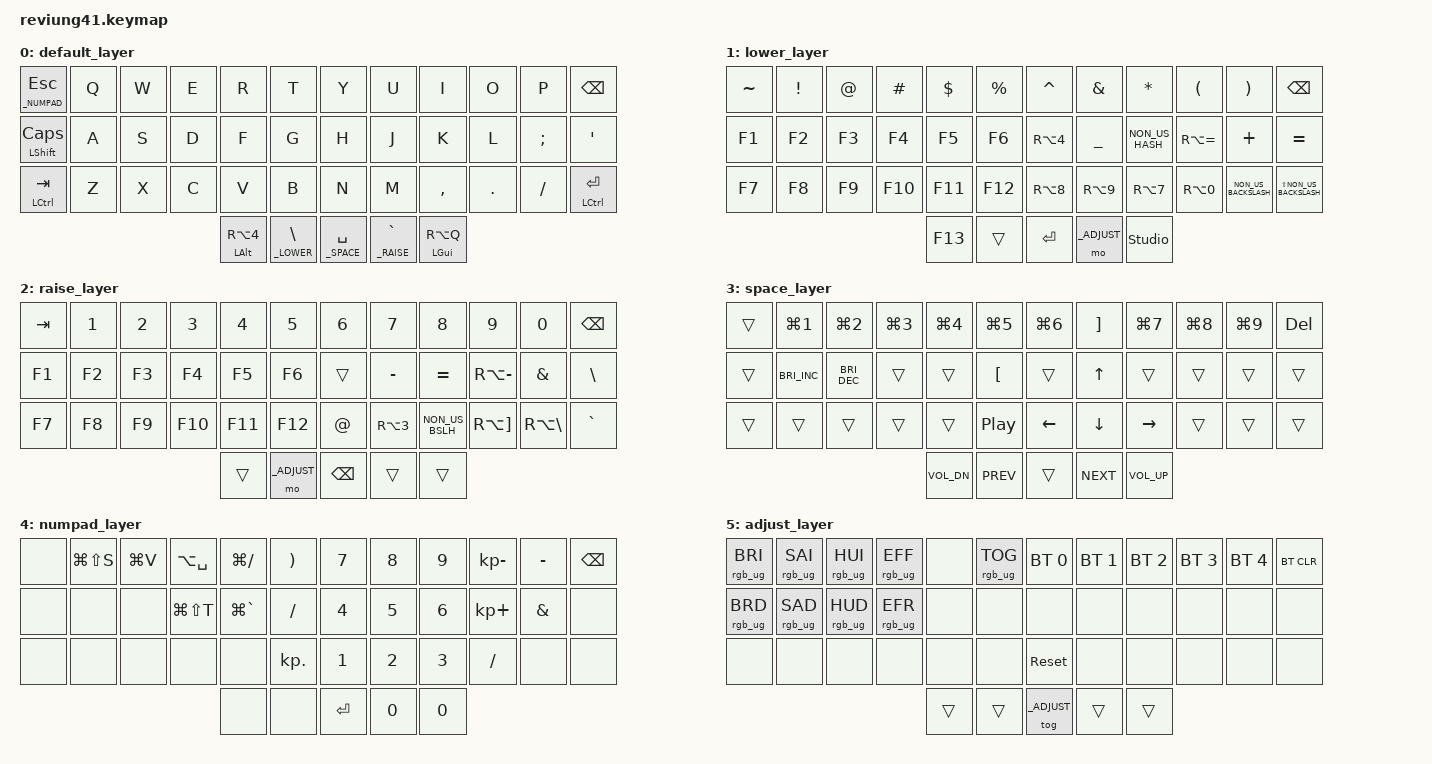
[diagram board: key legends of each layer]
/*
 * Copyright (c) 2020 The ZMK Contributors
 *
 * SPDX-License-Identifier: MIT
 */

#include <behaviors.dtsi>
#include <dt-bindings/zmk/keys.h>
#include <dt-bindings/zmk/bt.h>
#include <dt-bindings/zmk/rgb.h>



// For QMK:
// KC_NONUS_BSLASH (\|) is equivalent to ["é] key in Turkish keyboards.
// KC_GRV (~ `) is equivalent to [<>|] key in Turkish keyboards.
// KC_SCLN is Turkish s [şŞ] key
// KC_QUOT is Turkish i [iİ] key
// KC_COMM is Turkish o [öÖ] key
// KC_DOT is Turkish c [çÇ] key

// For ZMK:
// NON_US_BACKSLASH (\|) is equivalent to ["é] key in Turkish keyboards.
// GRAVE (~ `) is equivalent to [<>|] key in Turkish keyboards.
// SEMI (;) is Turkish s [şŞ] key
// SQT (') is Turkish i [iİ] key
// COMMA (,) is Turkish o [öÖ] key
// DOT (.) is Turkish c [çÇ] key
// FSLH (/) is Turkish dot [.:] key
// BSLH (\) is Turkish comma (,;) key

// Custom shortcuts specific to Turkish layout
#define _CURLY_OPEN RA(N7)
#define _CURLY_CLOSE RA(N0)
#define _AT_SIGN RA(Q)
#define _SQUARE_OPEN RA(N8)
#define _SQUARE_CLOSE RA(N9)
#define _DOLLAR_SIGN RA(N4)
#define _BACKSLASH RA(MINUS)
#define _VERTICAL_PIPE RA(EQUAL)
#define _BACKTICK RA(BACKSLASH)
#define _TILDE RA(RIGHT_BRACKET)
#define _NUMBER_SIGN RA(N3) //hashtag sign
#define _PT_LAYOUT LG(GRAVE) // PoweToys Layout Edit
#define _PT_LAUNCHER LA(SPACE) // PowerToys Launcher
#define _LOCKSCREEN LC(LS(C_PWR)) // Screen Lock shortcut for OSX
#define _WIN_SS LG(LS(S)) //Screenshot shortcut for Windows
#define _WIN_CLIP LG(V) //Clipboard shortcut for Windows
#define _WIN_EMOJI LG(FSLH) //Emoji shortcut for Windows
#define _WIN_TEXT LG(LS(T)) //Select text shortcut for Windows

// Layers
#define _QWERTY 0
#define _LOWER 1
#define _RAISE 2
#define _SPACE 3
#define _NUMPAD 4
#define _ADJUST 5




/ {
        keymap {
                compatible = "zmk,keymap";

                default_layer {
// -------------------------------------------------------------------------------------
// |Npd/ESC|  Q  |  W  |  E  |  R  |  T  |   |  Y  |  U   |  I  |  O  |  P  |   BKSP  |
// |Sft/Cps|  A  |  S  |  D  |  F  |  G  |   |  H  |  J   |  K  |  L  |  Ş  |    İ    |
// |LCtlTab|  Z  |  X  |  C  |  V  |  B  |   |  N  |  M   |  Ö  |  Ç  |  .  | LCtlEnt |
//                         |LALT/$| LWR/, | SPC* | RSE/"  | LGUI/@ |


                        bindings = <
   &lt _NUMPAD ESC  &kp Q  &kp W  &kp E  &kp R  &kp T           &kp Y  &kp U  &kp I  &kp O  &kp P  &kp BSPC
   &mt LSHFT CLCK  &kp A  &kp S  &kp D  &kp F  &kp G            &kp H  &kp J  &kp K  &kp L  &kp SEMI  &kp SQT
   &mt LCTRL TAB  &kp Z  &kp X  &kp C  &kp V  &kp B             &kp N  &kp M  &kp COMMA  &kp DOT  &kp FSLH  &mt LCTRL RET
        &mt LALT _DOLLAR_SIGN  &lt _LOWER BSLH    &lt _SPACE SPACE    &lt _RAISE GRAVE  &mt LGUI _AT_SIGN
                        >;
                };
 
                lower_layer {
// ----------------------------------------------------------------------------------
// |  >  |  !  |  '  |  ^  |  +  |  %  |   |  &  |  /  |  (  |  )  |  =  |   BKSP    |
// | F1  | F2  | F3  | F4  | F5  | F6  |   | "$" |  ?  |  #  |   "|" |  _  |     -     |
// | F7  | F8  | F9  | F10 | F11 | F12 |   | "[" | "]" | "{" | "}" |  <  |    ">"    |
//                       | F13  |    |  RET  | ADJ | STD-UNLOCK |
                        bindings = <
   &kp TILDE  &kp EXCL  &kp AT  &kp HASH  &kp DLLR  &kp PRCNT           &kp CARET  &kp AMPS  &kp ASTERISK  &kp LPAR  &kp RPAR  &kp BSPC
   &kp F1  &kp F2  &kp F3  &kp F4  &kp F5  &kp F6                       &kp _DOLLAR_SIGN  &kp UNDERSCORE     &kp NON_US_HASH &kp _VERTICAL_PIPE &kp PLUS  &kp EQUAL
   &kp F7  &kp F8  &kp F9  &kp F10  &kp F11  &kp F12                    &kp _SQUARE_OPEN  &kp _SQUARE_CLOSE  &kp _CURLY_OPEN  &kp _CURLY_CLOSE  &kp NON_US_BACKSLASH  &kp LS(NON_US_BACKSLASH)
                        &kp F13  &trans    &kp RET    &mo _ADJUST  &studio_unlock /* TODO */
                        >;
                };

                raise_layer {
// -----------------------------------------------------------------------------------------
// | Tab |  1  |  2  |  3  |  4  |  5  |   |  6  |  7  |  8  |  9  |  0  | BKSP |
// | F1  | F2  | F3  | F4  | F5  | F6  |   |     |  *  |  -  | "\" | "|" |  ,   |
// | F7  | F8  | F9  | F10 | F11 | F12 |   |  '  |  #  |  "  | "~" | "`" |  <>| |
//                       |     | ADJ | BKSP |    |     |
                        bindings = <
   &kp TAB  &kp N1  &kp N2  &kp N3  &kp N4  &kp N5              &kp N6  &kp N7  &kp N8  &kp N9  &kp N0  &kp BSPC
   &kp F1  &kp F2  &kp F3  &kp F4  &kp F5  &kp F6               &trans  &kp MINUS  &kp EQUAL  &kp _BACKSLASH  &kp AMPS  &kp BACKSLASH
   &kp F7  &kp F8  &kp F9  &kp F10  &kp F11  &kp F12            &kp AT_SIGN  &kp _NUMBER_SIGN  &kp NON_US_BSLH  &kp _TILDE  &kp _BACKTICK  &kp GRAVE
                        /* TODO */ &trans  &mo _ADJUST    &kp BSPC    &trans    &trans /* TODO */
                        >;
                };


                space_layer {
// -----------------------------------------------------------------------------------------
// |     |CMD+1|CMD+2|CMD+3|CMD+4|CMD+5|   | CMD+6 |   Ü   |CMD+7|CMD+8|CMD+9|DELETE|
// |     |Brgt▼|Brgt▲|     |     |  Ğ   |   |      |UP |    |   |     |      |
// |     |     |     |     |     |PlayPse|   |LEFT|DOWN|RIGHT|     |     |      |
//                  |  Vol-    | Prev |     | Next  |  Vol+   |
                        bindings = <
   &trans  &kp LG(N1)  &kp LG(N2)  &kp LG(N3)  &kp LG(N4)  &kp LG(N5)           &kp LG(N6) &kp RIGHT_BRACKET  &kp LG(N7)  &kp LG(N8)  &kp LG(N9)   &kp DEL
   &trans  &kp C_BRI_INC  &kp C_BRI_DEC &trans &trans &kp LEFT_BRACKET          &trans    &kp UP    &trans     &trans  &trans  &trans
   &trans  &trans  &trans  &trans  &trans  &kp C_PLAY_PAUSE                     &kp LEFT  &kp DOWN  &kp RIGHT  &trans  &trans  &trans
                        &kp C_VOL_DN  &kp C_PREV    &trans    &kp C_NEXT     &kp C_VOL_UP 
                        >;
                };

                // KP_DOT is comma on the Turkish layout ¯\_(ツ)_/¯
                numpad_layer {
// -----------------------------------------------------------------------------------------
// |     |WIN_SS|WIN_CLIP|PT_LAUNCHER|WIN_EMOJI|   =  |   |Num7 |Num8 |Num9 |  -  |  *  | BKSP |
// |     |     |     |   WIN_TEXT  |PT_LAYOUT|  .   |   |Num4 |Num5 |Num6 |  +  |  /  |     |
// |     |     |     |     |     |  ,   |   |Num1 |Num2 |Num3 |  .  |     |     |
//                   |      |     | Enter |  Num0   |  Num0   |
                        bindings = <
   &none    &kp _WIN_SS  &kp _WIN_CLIP  &kp _PT_LAUNCHER  &kp _WIN_EMOJI  &kp RPAR                 &kp N7  &kp N8  &kp N9  &kp KP_MINUS  &kp MINUS  &kp BSPC
   &none         &none  &none  &kp _WIN_TEXT  &kp _PT_LAYOUT  &kp SLASH                 &kp N4  &kp N5  &kp N6  &kp KP_PLUS   &kp AMPS   &none
   &none         &none  &none  &none  &none  &kp KP_DOT                &kp N1  &kp N2  &kp N3  &kp SLASH     &none      &none
                                &none  &none    &kp RET    &kp N0  &kp N0 
                        >;
                };

                adjust_layer {
// -----------------------------------------------------------------------------------------
// | RGB BRI+ | RGB SAT+ | RGB HUE+ | RGB ANI+ |    | RGB TOG |   |  BT1  | BT2 | BT3 | BT4 | BT5 | BT CLR |
// | RGB BRI- | RGB SAT- | RGB HUE- | RGB ANI+ |    |         |   |       |     |     |     |     |        |
// |          |          |          |          |    |         |   | RESET |     |     |     |     |        |
//                                              |     |     |     |     |     |
                        bindings = <
   &rgb_ug RGB_BRI &rgb_ug RGB_SAI &rgb_ug RGB_HUI &rgb_ug RGB_EFF &none &rgb_ug RGB_TOG    &bt BT_SEL 0 &bt BT_SEL 1 &bt BT_SEL 2 &bt BT_SEL 3 &bt BT_SEL 4 &bt BT_CLR
   &rgb_ug RGB_BRD &rgb_ug RGB_SAD &rgb_ug RGB_HUD &rgb_ug RGB_EFR &none &none              &none        &none        &none        &none        &none        &none
   &none           &none           &none           &none           &none &none              &sys_reset      &none        &none        &none        &none        &none
                                                             &trans      &trans       &tog _ADJUST        &trans      &trans
                        >;
                };
        };
};   





 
